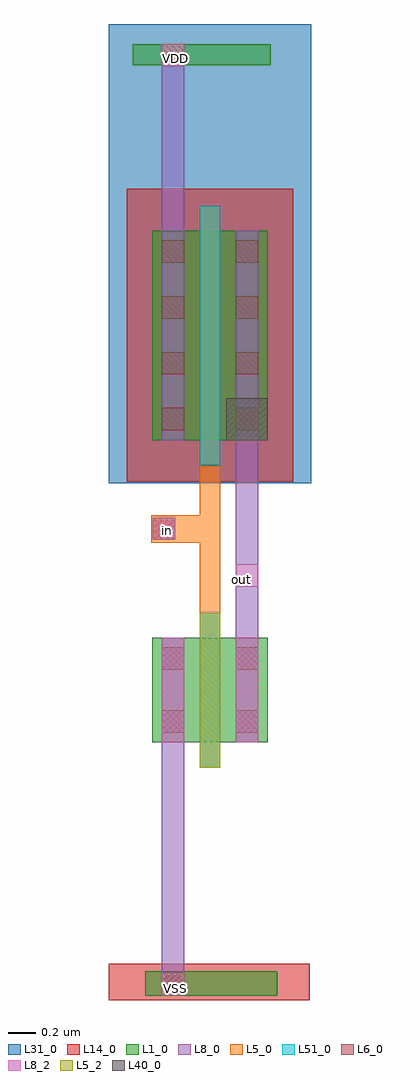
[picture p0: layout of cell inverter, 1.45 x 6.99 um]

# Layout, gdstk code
import gdstk
lib = gdstk.Library(unit=1e-6, precision=5e-09)
def R(c, l, rs):  # rectangles x0, y0, x1, y1
    for r in rs: c.add(gdstk.rectangle(r[:2], r[2:], *l))
def A(c, l, x, y, w, h, nx, ny, dx, dy):  # array of equal rectangles
    R(c, l, [(x+i*dx, y+j*dy, x+i*dx+w, y+j*dy+h) for i in range(nx) for j in range(ny)])
L1_0 = (1, 0)
L5_0 = (5, 0)
L5_2 = (5, 2)
L6_0 = (6, 0)
L8_0 = (8, 0)
L8_2 = (8, 2)
L14_0 = (14, 0)
L31_0 = (31, 0)
L40_0 = (40, 0)
L51_0 = (51, 0)

nmos = lib.new_cell('nmos')
R(nmos, L1_0, [(0,0,0.3,0.3), (0,0,0.83,0.75), (0.53,0,0.83,0.3)])
R(nmos, L5_0, [(0.34,-0.18,0.49,0.93)])
R(nmos, L5_2, [(0.34,-0.18,0.49,0.93)])
R(nmos, L6_0, [(0.07,0.07,0.23,0.23), (0.6,0.07,0.76,0.23), (0.07,0.52,0.23,0.68), (0.6,0.52,0.76,0.68)])
R(nmos, L8_0, [(0.07,0,0.23,0.75), (0.6,0,0.76,0.75)])
R(nmos, L8_2, [(0.07,0,0.23,0.75), (0.6,0,0.76,0.75)])
R(nmos, L51_0, [(0.34,-0.18,0.49,0.93)])
nmos.add(gdstk.Label('nmos', (0.415,0.375), layer=63, texttype=0))
nmos.add(gdstk.Label('nmos', (0.415,0.375), layer=51, texttype=0))

pmos_1 = lib.new_cell('pmos$1')
R(pmos_1, L1_0, [(0,0,0.3,0.3), (0,0,0.83,1.5), (0.53,0,0.83,0.3)])
R(pmos_1, L5_0, [(0.34,-0.18,0.49,1.68), (0.34,-0.18,0.49,1.68)])
A(pmos_1, L6_0, 0.07, 0.07, 0.16, 0.16, 1, 4, 0, 0.4)
A(pmos_1, L6_0, 0.6, 0.07, 0.16, 0.16, 1, 4, 0, 0.4)
R(pmos_1, L8_0, [(0.07,0,0.23,1.5), (0.07,0,0.23,1.5), (0.6,0,0.76,1.5), (0.6,0,0.76,1.5)])
R(pmos_1, L14_0, [(-0.18,-0.3,1.01,1.8)])
R(pmos_1, L31_0, [(-0.31,-0.31,1.14,1.81)])
R(pmos_1, L40_0, [(0.53,0,0.83,0.3)])
R(pmos_1, L51_0, [(0.34,-0.18,0.49,1.68)])
pmos_1.add(gdstk.Label('pmos', (0.415,0.75), layer=63, texttype=0))
pmos_1.add(gdstk.Label('pmos', (0.415,0.75), layer=51, texttype=0))

inverter = lib.new_cell('inverter')
R(inverter, L1_0, [(-0.48,-2.97,0.465,-2.795), (-0.57,3.695,0.42,3.845)])
R(inverter, L5_0, [(-0.09,-0.225,0.06,0.83), (-0.435,0.275,-0.135,0.47), (-0.135,0.275,-0.09,0.47)])
R(inverter, L6_0, [(-0.36,-2.965,-0.2,-2.805), (-0.425,0.295,-0.265,0.455), (-0.36,3.69,-0.2,3.85)])
R(inverter, L8_0, [(-0.36,-2.805,-0.2,-0.93), (0.17,-0.635,0.33,1.245), (-0.425,0.295,-0.265,0.455), (-0.36,2.51,-0.2,3.69)])
R(inverter, L8_2, [(-0.36,-2.965,-0.2,-2.805), (0.17,-0.04,0.33,0.12), (-0.425,0.295,-0.265,0.455), (-0.36,3.69,-0.2,3.85)])
R(inverter, L14_0, [(-0.74,-3,0.7,-2.74)])
R(inverter, L31_0, [(-0.74,2.82,0.71,3.99)])
inverter.add(gdstk.Reference(nmos, (-0.43,-1.155)))
inverter.add(gdstk.Reference(pmos_1, (-0.43,1.01)))
inverter.add(gdstk.Label('out', (0.21,0.015), layer=8, texttype=2))
inverter.add(gdstk.Label('VSS', (-0.26,-2.915), layer=8, texttype=2))
inverter.add(gdstk.Label('VDD', (-0.26,3.74), layer=8, texttype=2))
inverter.add(gdstk.Label('in', (-0.32,0.36), layer=8, texttype=2))

lib.write_gds('inverter.gds')
